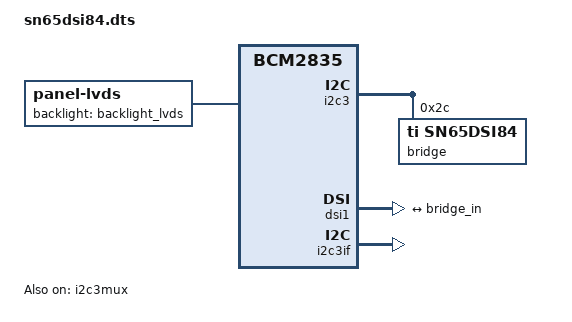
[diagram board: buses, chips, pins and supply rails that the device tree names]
/*
 * Derived from:
 * vc4-kms-dsi-ti-sn65dsi84-CSD123IA-01D-overlay.dts
 * aBUGSworsnightmare 20250731
 *
 * Edited for RPI_CMx_Carrier by Jean-Francois Bilodeau, P.Eng on 2026-03-07
 *
 * RPI_CMx_Carrier uses SN65DSI84 on DSI1 with up to 4x DSI lanes and 1x 4-lane LVDS output on LVDS_A. 
 * The DSI bridge is controlled through I2C3 on CM4 and doesn't have a dedicated enable input.
 * The display panel is from Riverdi and the part number is RVT70HSLFWCA0.
 * The backlight driver is from Texas Instruments TPS61169 and is driven by PWM0_0 on RPI_CMx GPIO12, and doesn't have a dedicated enable input.
 * The schematic can be found on Github --> https://github.com/lecejeff/RPI_CMx_Carrier
 */

/dts-v1/;
/plugin/;
#include <dt-bindings/gpio/gpio.h>
#include <dt-bindings/pinctrl/bcm2835.h>

/ {
	compatible = "brcm,bcm2835";

	fragment@0 {
		target-path = "/";
		__overlay__ {

			panel: panel {
				compatible = "panel-lvds";
				backlight = <&backlight_lvds>;

				/* Physical dimensions of active area */
				width-mm = <154>;
				height-mm = <86>;

				data-mapping = "vesa-24";

				/* RVT70HSLFWCA0 */
				/* 1024 x 600 pixels  */
				panel-timing {
					clock-frequency = <51200000>;
					hactive = <1024>;
					vactive = <600>;
					hfront-porch = <160>;
					hback-porch = <160>;
					hsync-len = <70>;
					vfront-porch = <12>;
					vback-porch = <23>;
					vsync-len = <10>;
					hsync-active = <0>;
					vsync-active = <0>;
					de-active = <1>;
					pixelclk-active = <0>;
				};
			};
		};
	};

	fragment@1 {
		target = <&i2c3>;
		__overlay__ {
			#gpio-cells = <2>;
			#address-cells = <1>;
			#size-cells = <0>;
			status = "okay";

			/* Information for RVT70HSLFWCA0 */
			bridge@2c {
				compatible = "ti,sn65dsi84";
				reg = <0x2c>;
				ti,dsi-lanes = <4>;
				ti,lvds-format = <0>;
				ti,lvds-bpp = <24>;
				ti,lvds--channels = <1>;
				ti,width-mm = <154>;
				ti,height-mm = <86>;
				pinctrl-names = "default";
				status = "okay";
			};
		};
	};

	fragment@2 {
		target = <&dsi1>;
		__overlay__ {
			#address-cells = <1>;
			#size-cells = <0>;
			status = "okay";
			port {
				dsi_out_port: endpoint {
					remote-endpoint = <&bridge_in>;
					data-lanes = <1 2 3 4>;
				};
			};
		};
	};

	fragment@3 {
		target = <&i2c3if>;
		__overlay__ {
			status = "okay";
		};
	};
		
	fragment@4 {
		target = <&i2c3mux>;
		__overlay__ {
			status = "okay";
		};
	};
};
